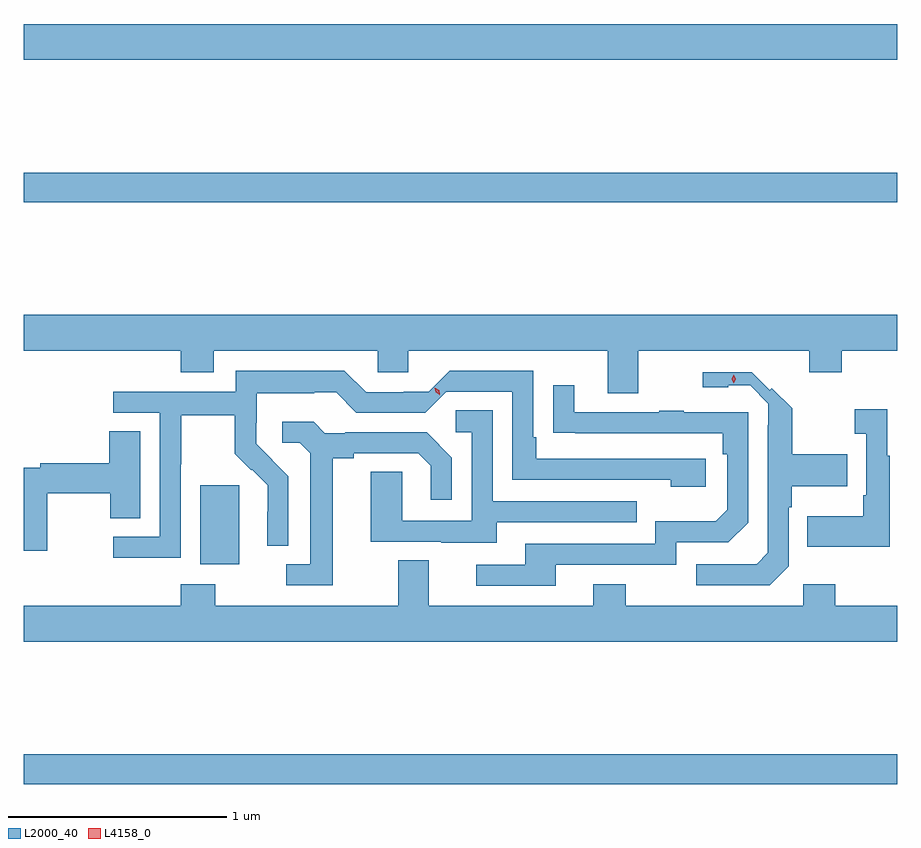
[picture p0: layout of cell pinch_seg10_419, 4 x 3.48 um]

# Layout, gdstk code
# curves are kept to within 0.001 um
import gdstk
lib = gdstk.Library(unit=1e-6, precision=1e-09)
def R(c, l, rs):  # rectangles x0, y0, x1, y1
    for r in rs: c.add(gdstk.rectangle(r[:2], r[2:], *l))
def P(c, l, *ps):  # polygons
    for p in ps: c.add(gdstk.Polygon(p, *l))
L2000_40 = (2000, 40)
L4158_0 = (4158, 0)

pinch_seg10_419 = lib.new_cell('pinch_seg10_419')
R(pinch_seg10_419, L2000_40, [(358.099,1322.308,362.099,1322.444), (358.907,1323.314,359.086,1323.675), (358.099,1324.972,362.099,1325.108), (358.099,1325.624,362.099,1325.788)])
P(pinch_seg10_419, L2000_40, [(360.913,1324.292),(361.697,1324.292),(361.697,1324.193),(361.845,1324.193),(361.845,1324.292),(362.099,1324.292),(362.099,1324.456),(358.099,1324.456),(358.099,1324.292),(358.817,1324.292),(358.817,1324.193),(358.969,1324.193),(358.969,1324.292),(359.721,1324.292),(359.721,1324.194),(359.86,1324.194),(359.86,1324.292),(360.773,1324.292),(360.773,1324.098),(360.913,1324.098)],
  [(358.818,1323.772),(358.821,1323.772),(358.821,1323.996),(359.065,1323.996),(359.065,1323.821),(359.142,1323.744),(359.145,1323.747),(359.216,1323.677),(359.216,1323.554),(359.214,1323.554),(359.214,1323.4),(359.31,1323.4),(359.31,1323.718),(359.164,1323.866),(359.164,1323.963),(359.166,1323.963),(359.166,1324.097),(359.429,1324.097),(359.429,1324.101),(359.529,1324.101),(359.622,1324.008),(359.937,1324.008),(360.033,1324.104),(360.336,1324.104),(360.336,1323.702),(361.061,1323.702),(361.061,1323.668),(361.222,1323.668),(361.222,1323.798),(360.445,1323.798),(360.445,1323.895),(360.432,1323.895),(360.432,1324.2),(360.049,1324.2),(359.953,1324.104),(359.84,1324.104),(359.84,1324.101),(359.667,1324.101),(359.567,1324.201),(359.07,1324.201),(359.07,1324.104),(358.509,1324.104),(358.509,1324.008),(358.722,1324.008),(358.722,1323.441),(358.509,1323.441),(358.509,1323.343),(358.818,1323.343)],
  [(361.602,1323.306),(361.602,1323.575),(361.615,1323.575),(361.615,1323.671),(361.871,1323.671),(361.871,1323.819),(361.617,1323.819),(361.617,1324.028),(361.525,1324.12),(361.516,1324.111),(361.432,1324.194),(361.209,1324.194),(361.209,1324.125),(361.324,1324.125),(361.324,1324.133),(361.426,1324.133),(361.509,1324.05),(361.509,1323.95),(361.506,1323.95),(361.506,1323.366),(361.455,1323.315),(361.179,1323.315),(361.179,1323.219),(361.515,1323.219)],
  [(360.535,1323.312),(361.086,1323.312),(361.086,1323.414),(361.326,1323.414),(361.416,1323.504),(361.416,1324.011),(361.121,1324.011),(361.121,1324.016),(361.009,1324.016),(361.009,1324.011),(360.619,1324.011),(360.619,1324.135),(360.523,1324.135),(360.523,1323.916),(361.3,1323.915),(361.3,1323.818),(361.32,1323.818),(361.32,1323.564),(361.267,1323.511),(360.99,1323.511),(360.99,1323.408),(360.395,1323.408),(360.395,1323.312),(360.171,1323.312),(360.171,1323.216),(360.535,1323.216)],
  [(362.065,1323.811),(362.053,1323.811),(362.053,1324.024),(361.905,1324.024),(361.905,1323.911),(361.956,1323.911),(361.956,1323.631),(361.944,1323.631),(361.944,1323.535),(361.687,1323.535),(361.687,1323.395),(362.065,1323.395)],
  [(360.265,1323.507),(360.905,1323.507),(360.905,1323.603),(360.246,1323.603),(360.246,1324.019),(360.078,1324.019),(360.078,1323.918),(360.15,1323.918),(360.15,1323.513),(359.832,1323.513),(359.832,1323.737),(359.687,1323.737),(359.687,1323.417),(360.011,1323.417),(360.011,1323.413),(360.265,1323.413)],
  [(359.515,1323.8),(359.611,1323.8),(359.611,1323.822),(359.906,1323.822),(359.963,1323.765),(359.963,1323.609),(360.06,1323.609),(360.06,1323.802),(359.944,1323.918),(359.572,1323.918),(359.572,1323.915),(359.478,1323.915),(359.426,1323.967),(359.283,1323.967),(359.283,1323.87),(359.364,1323.87),(359.411,1323.823),(359.411,1323.315),(359.301,1323.315),(359.301,1323.219),(359.515,1323.219)],
  [(358.206,1323.64),(358.495,1323.64),(358.495,1323.526),(358.633,1323.526),(358.633,1323.923),(358.49,1323.923),(358.49,1323.776),(358.174,1323.776),(358.174,1323.756),(358.099,1323.756),(358.099,1323.375),(358.206,1323.375)],
  [(362.099,1323.124),(361.815,1323.124),(361.815,1323.223),(361.668,1323.223),(361.668,1323.124),(360.855,1323.124),(360.855,1323.223),(360.707,1323.223),(360.707,1323.124),(359.953,1323.124),(359.953,1323.332),(359.813,1323.332),(359.813,1323.124),(358.977,1323.124),(358.977,1323.223),(358.817,1323.223),(358.817,1323.124),(358.099,1323.124),(358.099,1322.96),(362.099,1322.96)])
P(pinch_seg10_419, L4158_0, [(361.35,1324.142),(361.35,1324.142),(361.34,1324.161),(361.35,1324.181),(361.35,1324.181),(361.35,1324.181),(361.36,1324.161),(361.35,1324.142)],
  [(360.004,1324.089),(360.004,1324.09),(359.985,1324.101),(359.982,1324.123),(359.982,1324.123),(359.982,1324.123),(360.002,1324.112),(360.004,1324.09)])

lib.write_gds('pinch_seg10_419.gds')
